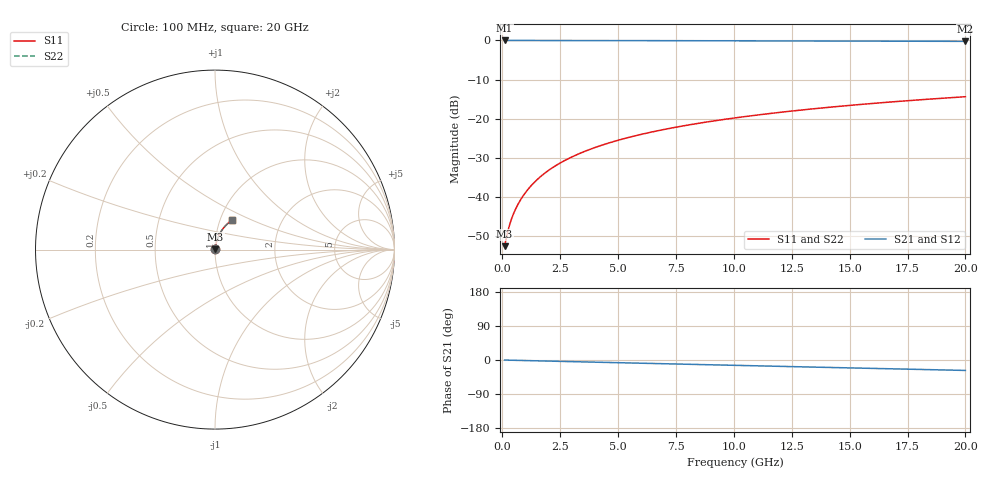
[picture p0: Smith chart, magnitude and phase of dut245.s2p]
! Touchstone file exported from HFSS 2026.1.0
!  File:  C:/ffzhzh/LocalFiles/Ansys_Project_Files/temp_train_BSMRDL_245_1782988493_42984.aedt
!  Generated:  06:36:03 PM Jul  2, 2026
!  Design:  BSMRDL
!  Project:  temp_train_BSMRDL_245_1782988493_42984
! Variables:
!  h_bsmrdl = 4.19um
!  h_ox = 20um
!  h_rdl = 5um
!  h_sub = 80um
!  h_tmrdl = 5um
!  h_tsv = 80um
!  h_via = 3um
!  l_bsmrdl = 433.53um
!  l_sub = 833.53um
!  l_tmrdl = 200um
!  m_sub = 200um
!  pitch = 34.47um
!  r_tsv = 6um
!  s_tmrdl = 10um
!  w_bsmrdl = 20.43um
!  w_sub = 500um
!  w_tmrdl = 12um
!  x_tsv_center1 = 206um
!  x_tsv_center2 = 659.96um
!  x_tsv_center3 = 871.96um
!  x_tsv_center4 = 1325.92um
!  x_tsv_center5 = 1537.92um
!  x_tsv_center6 = 1991.88um
# GHz S MA R 50.000000
! Terminal data exported
! Port[1] = BSM_RDL1_1_T1
! Port[2] = BSM_RDL1_1_T2
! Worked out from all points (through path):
!   200 points, 100 MHz to 20 GHz, reference 50 ohm
!   highest |S21| = -0.02 dB at 100 MHz (marker M1); lowest = -0.2 dB at 20 GHz (marker M2)
!   group delay of S21, straight-line fit = 3.82 ps
!   lowest |S11| = -52.5 dB at 100 MHz (marker M3), VSWR 1.00, Z = 50.2 + j0.128 ohm
!   |S11| at or under -10 dB: start of sweep to end of sweep
!   |S22| runs from -52.5 to -14.4 dB; largest |S21 - S12| = 3.6e-15
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0.1  0.002361 32.7  0.998 -0.2  0.998 -0.2  0.002361 32.7
! Gamma 0 0 0 0
! Port Impedance 50 0 50 0
0.2  0.003267 49.4  0.9979 -0.3  0.9979 -0.3  0.003267 49.4
0.3  0.004268 57.8  0.9977 -0.5  0.9977 -0.5  0.004268 57.8
0.4  0.005274 62.8  0.9976 -0.6  0.9976 -0.6  0.005274 62.8
0.5  0.006279 66.3  0.9976 -0.7  0.9976 -0.7  0.00628 66.3
0.6  0.007289 68.9  0.9975 -0.9  0.9975 -0.9  0.00729 68.9
0.8  0.009331 72.5  0.9974 -1.2  0.9974 -1.2  0.009331 72.5
1.1  0.01244 75.8  0.9973 -1.6  0.9973 -1.6  0.01244 75.8
1.3  0.01454 77.1  0.9972 -1.9  0.9972 -1.9  0.01454 77.1
1.6  0.01771 78.3  0.997 -2.3  0.997 -2.3  0.01771 78.3
2.1  0.02299 79.3  0.9967 -3.0  0.9967 -3.0  0.023 79.3
2.7  0.02933 79.6  0.9963 -3.9  0.9963 -3.9  0.02933 79.6
3.5  0.0377 79.3  0.9956 -5.0  0.9956 -5.0  0.0377 79.3
4.2  0.04493 78.8  0.9949 -6.0  0.9949 -6.0  0.04493 78.8
5  0.0531 78.0  0.9941 -7.1  0.9941 -7.1  0.0531 78.0
5.9  0.06216 77.0  0.993 -8.4  0.993 -8.4  0.06216 77.0
6.8  0.0711 75.9  0.992 -9.6  0.992 -9.6  0.0711 75.9
8.3  0.08574 74.1  0.9901 -11.7  0.9901 -11.7  0.08574 74.1
10.1  0.1029 71.9  0.9877 -14.2  0.9877 -14.2  0.1029 71.9
13.4  0.1336 67.9  0.983 -18.7  0.983 -18.7  0.1336 67.9
16.7  0.163 63.7  0.9777 -23.1  0.9777 -23.1  0.163 63.7
20  0.1909 59.6  0.9719 -27.5  0.9719 -27.5  0.1909 59.6
